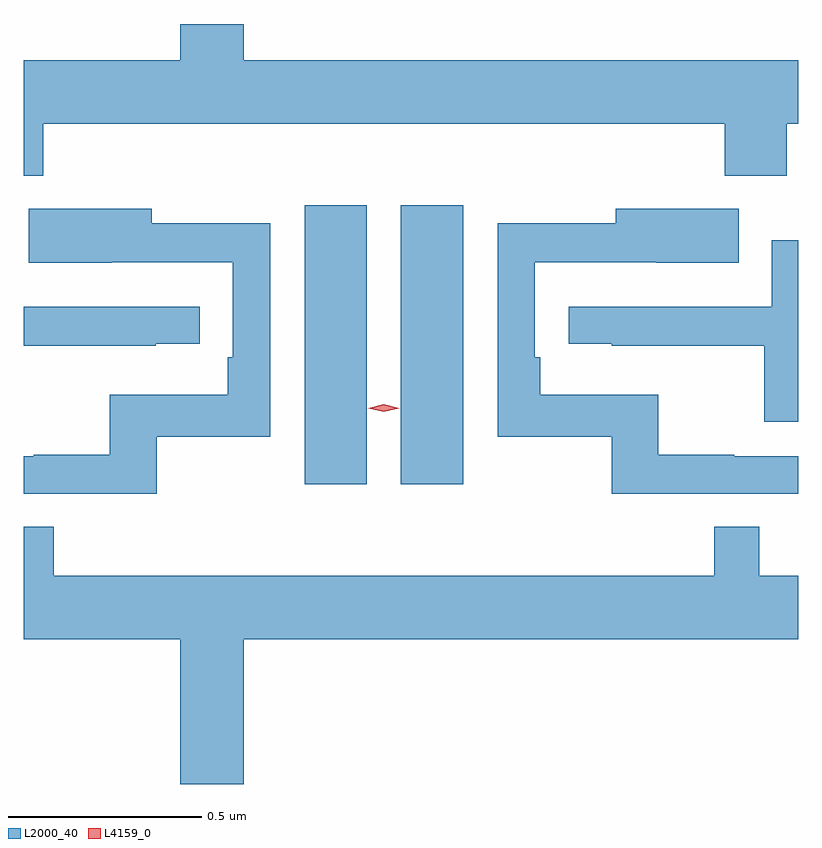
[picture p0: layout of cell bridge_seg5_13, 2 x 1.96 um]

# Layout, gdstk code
import gdstk
lib = gdstk.Library(unit=1e-6, precision=1e-09)
def R(c, l, rs):  # rectangles x0, y0, x1, y1
    for r in rs: c.add(gdstk.rectangle(r[:2], r[2:], *l))
def P(c, l, *ps):  # polygons
    for p in ps: c.add(gdstk.Polygon(p, *l))
L2000_40 = (2000, 40)
L4159_0 = (4159, 0)

bridge_seg5_13 = lib.new_cell('bridge_seg5_13')
R(bridge_seg5_13, L2000_40, [(896.597,855.828,896.758,856.549), (896.846,855.828,897.007,856.549)])
P(bridge_seg5_13, L2000_40, [(895.922,856.76),(897.683,856.76),(897.683,856.625),(897.843,856.625),(897.843,856.76),(897.872,856.76),(897.872,856.924),(896.44,856.924),(896.44,857.017),(896.276,857.017),(896.276,856.924),(895.872,856.924),(895.872,856.625),(895.922,856.625)],
  [(896.215,855.951),(896.508,855.951),(896.508,856.502),(896.203,856.502),(896.203,856.54),(895.885,856.54),(895.885,856.4),(896.099,856.4),(896.099,856.401),(896.412,856.401),(896.412,856.156),(896.399,856.156),(896.399,856.06),(896.094,856.06),(896.094,855.905),(895.897,855.905),(895.897,855.9),(895.872,855.9),(895.872,855.804),(896.215,855.804)],
  [(897.872,855.9),(897.707,855.9),(897.707,855.905),(897.511,855.905),(897.511,856.06),(897.206,856.06),(897.206,856.156),(897.192,856.156),(897.192,856.401),(897.505,856.401),(897.505,856.4),(897.719,856.4),(897.719,856.54),(897.401,856.54),(897.401,856.502),(897.096,856.502),(897.096,855.951),(897.39,855.951),(897.39,855.804),(897.872,855.804)],
  [(897.872,856.459),(897.804,856.459),(897.804,856.287),(897.279,856.287),(897.279,856.191),(897.391,856.191),(897.391,856.186),(897.784,856.186),(897.784,855.99),(897.872,855.99)],
  [(896.213,856.191),(896.326,856.191),(896.326,856.287),(895.872,856.287),(895.872,856.186),(896.213,856.186)],
  [(896.44,855.428),(897.872,855.428),(897.872,855.592),(897.771,855.592),(897.771,855.719),(897.655,855.719),(897.655,855.592),(895.949,855.592),(895.949,855.719),(895.872,855.719),(895.872,855.428),(896.276,855.428),(896.276,855.054),(896.44,855.054)])
P(bridge_seg5_13, L4159_0, [(896.802,856.015),(896.762,856.024),(896.762,856.025),(896.762,856.025),(896.802,856.035),(896.842,856.025),(896.842,856.025),(896.842,856.024)])

lib.write_gds('bridge_seg5_13.gds')
